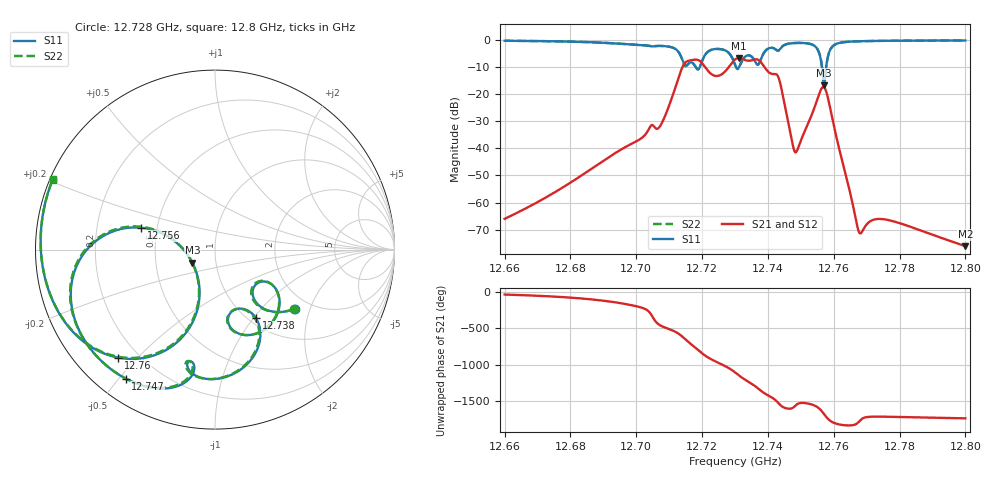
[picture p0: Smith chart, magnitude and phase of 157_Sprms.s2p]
! TOUCHSTONE file generated by CST MICROWAVE STUDIO
! Date and time: Wed Jul 31 18:46:38 2024
! Project name: WaveGuide_BPF-Ver4.1_U-shape_Ku_T3_C4_CWA_2.cst
! Parameters = {cavity_h=16; cavity_l0=10; cavity_l1=15.2288; cavity_l2=16.8705; cavity_l3=17.0637; cavity_l4=17.2658; cavity_l5=17.1418; cavity_l6=17.6236; cavity_r=2.5; cavity_screw_l=0.5; cavity_screw_r=1.5; cavity_w=8; iris_h00=0; iris_h01=8.835; iris_h112=0; iris_h12=5.6113; iris_h211=3.651; ir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
! Header version: 2018
! Port assignment regex: !\s*Touchstone port\s*([0-9]+)\s*=\s*(CST MWS port|CST DS port)\s*([0-9]+|Zmin|Zmax)\s*\(\"(.*)\"\)(\s*mode\s*([0-9]+))?.*
! Touchstone port assignment:
! Touchstone port 1 = CST MWS port 1 ("")
! Touchstone port 2 = CST MWS port 2 ("")
# GHz S RI R 50
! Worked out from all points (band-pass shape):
!   5001 points, 12.66 GHz to 12.8 GHz, reference 50 ohm
!   highest |S21| = -6.63 dB at 12.731 GHz (marker M1); lowest = -76.1 dB at 12.8 GHz (marker M2)
!   |S21| within 3 dB of the highest: 12.71416 GHz to 12.7207 GHz (6.537 MHz wide, 0.0514 % of centre); 12.72833 GHz to 12.73876 GHz (10.43 MHz wide, 0.0819 % of centre)
!   lowest |S11| = -16.7 dB at 12.757 GHz (marker M3), VSWR 1.34, Z = 38.4 - j5.73 ohm
!   |S11| at or under -10 dB: 12.71808 GHz to 12.71929 GHz (1.215 MHz wide, 0.00956 % of centre); 12.73036 GHz to 12.73119 GHz (829.7 kHz wide, 0.00652 % of centre); 12.75643 GHz to 12.75769 GHz (1.268 MHz wide, 0.00994 % of centre)
!   |S22| runs from -16.7 to -0.1 dB; largest |S21 - S12| = 1e-09
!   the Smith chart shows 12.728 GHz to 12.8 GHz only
!   S11 on the Smith chart (normalised r, x): 12.728 GHz: 1.66, -1.58; 12.738 GHz: 1.08, -1.03; 12.747 GHz: 0.09, -0.52; 12.756 GHz: 0.41, +0.12; 12.76 GHz: 0.13, -0.44; 12.8 GHz: 0.01, +0.21
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12.66  0.5275 0.817  0.000396 -0.000306  0.000396 -0.000306  0.5344 0.8124
12.68335  0.922 0.0872  -8.29e-05 -0.00316  -8.29e-05 -0.00316  0.923 0.076
12.69808  0.1009 -0.8278  -0.0118 -0.000243  -0.0118 -0.000243  0.0954 -0.83
12.70668  -0.7736 -0.1023  0.00374 -0.0232  0.00374 -0.0232  -0.7742 -0.1109
12.71485  -0.0236 0.3407  0.1178 0.3638  0.1178 0.3638  -0.0326 0.3304
12.7188  -0.00553 0.287  0.1077 -0.4161  0.1077 -0.4161  -0.0148 0.2905
12.72202  0.2255 0.5839  -0.2604 0.0184  -0.2604 0.0184  0.216 0.5864
12.72843  0.4437 -0.3301  0.2981 0.1557  0.2981 0.1557  0.4378 -0.3313
12.73  0.2192 -0.2787  0.4055 -0.1612  0.4055 -0.1612  0.2112 -0.2768
12.73112  0.2541 -0.1796  0.2235 -0.4092  0.2235 -0.4092  0.2484 -0.1756
12.73496  0.1616 -0.4751  -0.4191 -0.0422  -0.4191 -0.0422  0.157 -0.4752
12.73787  0.228 -0.382  0.0272 0.3914  0.0272 0.3914  0.223 -0.3844
12.74322  -0.1245 -0.6295  0.0225 -0.2032  0.0225 -0.2032  -0.1334 -0.6274
12.74719  -0.498 -0.7187  -0.0134 -0.0063  -0.0134 -0.0063  -0.508 -0.7121
12.75335  -0.8023 -0.217  -0.00867 -0.0414  -0.00867 -0.0414  -0.8061 -0.2089
12.7561  -0.4119 0.1219  -0.1212 -0.00196  -0.1212 -0.00196  -0.4184 0.1279
12.75708  -0.1262 -0.073  -0.0788 0.1087  -0.0788 0.1087  -0.1317 -0.0632
12.7601  -0.5399 -0.6019  0.0251 0.00266  0.0251 0.00266  -0.5449 -0.5958
12.76774  -0.9198 -0.2471  0.000246 0.000131  0.000246 0.000131  -0.9225 -0.2377
12.77668  -0.971 0.0165  -4.05e-06 0.000474  -4.05e-06 0.000474  -0.971 0.0255
12.79994  -0.9052 0.3885  5.55e-05 0.000147  5.55e-05 0.000147  -0.9022 0.3955
12.8  -0.9049 0.3891  5.54e-05 0.000146  5.54e-05 0.000146  -0.902 0.3961
